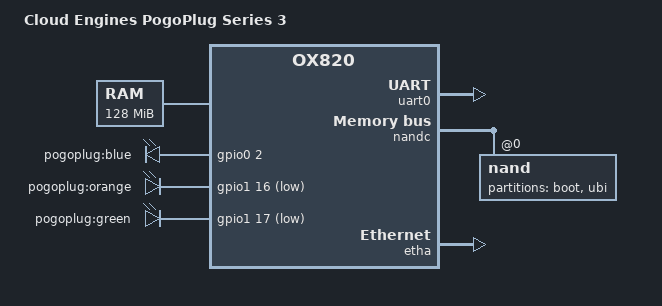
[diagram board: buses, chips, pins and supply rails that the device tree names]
// SPDX-License-Identifier: GPL-2.0-or-later
/*
 * cloudengines-pogoplug-series-3.dtsi - Device tree file for Cloud Engines PogoPlug Series 3
 *
 * Copyright (C) 2016 Neil Armstrong <narmstrong@baylibre.com>
 */

/dts-v1/;
#include "ox820.dtsi"

/ {
	model = "Cloud Engines PogoPlug Series 3";

	compatible = "cloudengines,pogoplugv3", "oxsemi,ox820";

	chosen {
		bootargs = "earlyprintk";
		stdout-path = "serial0:115200n8";
	};

	memory {
		/* 128Mbytes DDR */
		reg = <0x60000000 0x8000000>;
	};

	aliases {
		serial0 = &uart0;
		gpio0 = &gpio0;
		gpio1 = &gpio1;
	};

	leds {
		compatible = "gpio-leds";

		blue {
			label = "pogoplug:blue";
			gpios = <&gpio0 2 0>;
			default-state = "keep";
		};

		orange {
			label = "pogoplug:orange";
			gpios = <&gpio1 16 1>;
			default-state = "keep";
		};

		green {
			label = "pogoplug:green";
			gpios = <&gpio1 17 1>;
			default-state = "keep";
		};
	};
};

&uart0 {
	status = "okay";

	pinctrl-names = "default";
	pinctrl-0 = <&pinctrl_uart0>;
};

&nandc {
	status = "okay";

	pinctrl-names = "default";
	pinctrl-0 = <&pinctrl_nand>;

	nand@0 {
		reg = <0>;
		#address-cells = <1>;
		#size-cells = <1>;
		nand-ecc-mode = "soft";
		nand-ecc-algo = "hamming";

		partition@0 {
			label = "boot";
			reg = <0x00000000 0x00e00000>;
			read-only;
		};

		partition@e00000 {
			label = "ubi";
			reg = <0x00e00000 0x07200000>;
		};
	};
};

&etha {
	status = "okay";

	pinctrl-names = "default";
	pinctrl-0 = <&pinctrl_etha_mdio>;
};
